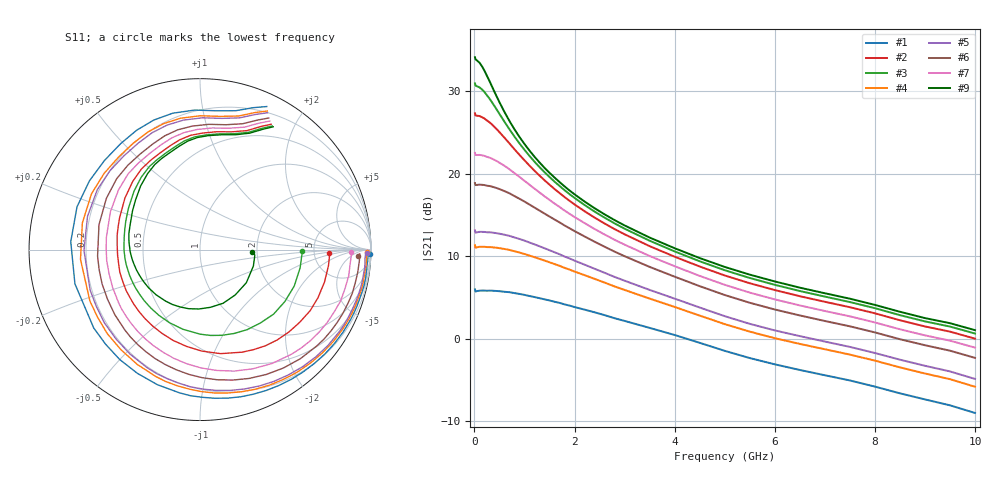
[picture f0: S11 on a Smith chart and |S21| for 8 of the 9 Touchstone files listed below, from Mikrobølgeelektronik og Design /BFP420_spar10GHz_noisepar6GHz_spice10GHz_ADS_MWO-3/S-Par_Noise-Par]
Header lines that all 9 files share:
! Infineon Technologies  Discrete & RF Semiconductors
! BFP420
! Common Emitter S-Parameters:  Nov 2009
# GHz  S  MA  R  50
!  f  S11  S21  S12  S22
! GHz  MAG  ANG  MAG  ANG  MAG  ANG  MAG  ANG
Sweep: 10 MHz to 10 GHz
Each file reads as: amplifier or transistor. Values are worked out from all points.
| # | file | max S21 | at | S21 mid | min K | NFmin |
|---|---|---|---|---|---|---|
| 1 | 2p4V00M5.s2p | 6.0 dB | 10 MHz | 4.3 dB at 1.7 GHz | 0.01 | 0.68 dB |
| 2 | 2p4V08M0.s2p | 27.4 dB | 10 MHz | 17.7 dB at 1.7 GHz | 0.19 | 0.79 dB |
| 3 | 2p4V015M.s2p | 31.0 dB | 10 MHz | 18.5 dB at 1.7 GHz | 0.28 | 1.06 dB |
| 4 | 2p4V51M0.s2p | 11.3 dB | 10 MHz | 8.8 dB at 1.7 GHz | 0.04 | 0.53 dB |
| 5 | 2p4V51M2.s2p | 13.2 dB | 10 MHz | 10.3 dB at 1.7 GHz | 0.05 | 0.53 dB |
| 6 | 2p4V52M5.s2p | 18.9 dB | 10 MHz | 14.1 dB at 1.7 GHz | 0.09 | 0.55 dB |
| 7 | 2p4V54M0.s2p | 22.5 dB | 10 MHz | 16.0 dB at 1.7 GHz | 0.14 | 0.61 dB |
| 8 | 2p4V512M.s2p | 29.7 dB | 10 MHz | 18.4 dB at 1.7 GHz | 0.32 | 0.95 dB |
| 9 | 2p4V535M.s2p | 34.1 dB | 10 MHz | 19.0 dB at 1.7 GHz | 0.45 | 1.64 dB |

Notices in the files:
Bachelor/Oplæsning/Mikrobølgeelektronik og Design /BFP420_spar10GHz_noisepar6GHz_spice10GHz_ADS_MWO-3/S-Par_Noise-Par/2p4V00M5.s2p:
(c) 2009  Infineon Technologies AG, Munich
